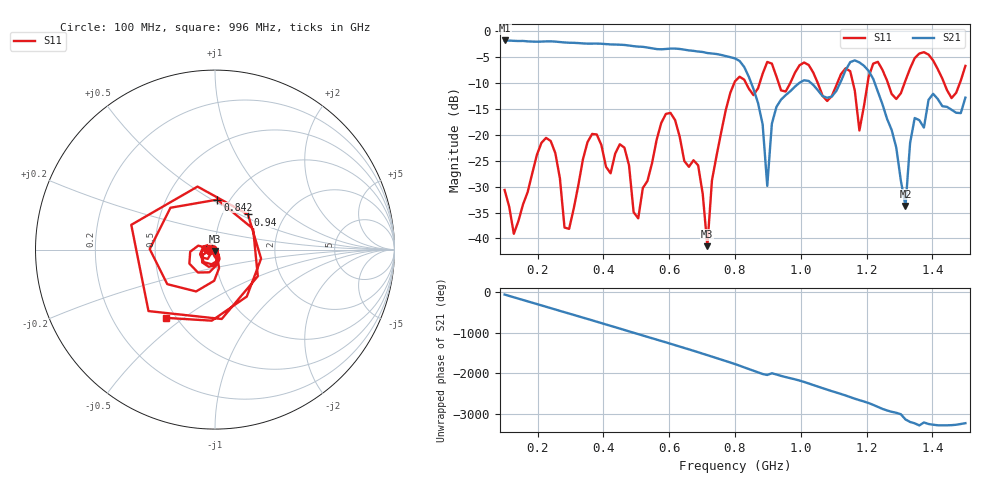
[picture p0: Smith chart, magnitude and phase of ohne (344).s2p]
! NanoVNA-App
! Date: 2025-09-25 14:23:28
! Start: 100MHz Stop: 1,5GHz Points: 101
! S-Parameter data: F S11 S21 S12 S22
# Hz S RI R 50
!  Frequency  S11_Real  S11_Imag  S21_Real  S21_Imag  S12_Real  S12_Imag  S22_Real  S22_Imag
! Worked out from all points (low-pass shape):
!   101 points, 100 MHz to 1.5 GHz, reference 50 ohm
!   highest |S21| = -1.79 dB at 100 MHz (marker M1); lowest = -33.7 dB at 1.318 GHz (marker M2)
!   |S21| within 3 dB of the highest: start of sweep to 771 MHz
!   lowest |S11| = -41.5 dB at 716 MHz (marker M3), VSWR 1.02, Z = 49.8 - j0.824 ohm
!   |S11| at or under -10 dB: start of sweep to 797.9 MHz; 833.2 MHz to 875.1 MHz (41.91 MHz wide, 4.91 % of centre); 1.051 GHz to 1.111 GHz (59.43 MHz wide, 5.5 % of centre) (the widest 3 of 7)
!   S12 and S22 are empty: the file has one direction only
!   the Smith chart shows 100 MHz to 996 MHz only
!   S11 on the Smith chart (normalised r, x): 100 MHz: 0.94, -0.01; 842 MHz: 0.88, +0.53; 940 MHz: 1.32, +0.56; 996 MHz: 0.44, -0.43
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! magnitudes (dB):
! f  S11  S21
! 100 MHz  -30.6  -1.8
! 128 MHz  -39.1  -1.9
! 226 MHz  -20.6  -2.0
! 296 MHz  -38.1  -2.2
! 338 MHz  -24.7  -2.4
! 464 MHz  -22.5  -2.7
! 506 MHz  -36.1  -3.0
! 576 MHz  -17.7  -3.5
! 688 MHz  -25.9  -3.9
! 716 MHz  -41.5  -4.2
! 800 MHz  -9.7  -5.3
! 842 MHz  -11.1  -8.8
! 898 MHz  -5.9  -29.9
! 940 MHz  -11.4  -13.2
! 996 MHz  -6.6  -10.0
! 1.038 GHz  -8.0  -10.4
! 1.178 GHz  -19.2  -6.0
! 1.22 GHz  -6.3  -9.2
! 1.276 GHz  -12.1  -19.1
! 1.318 GHz  -9.5  -33.7
! 1.346 GHz  -5.2  -16.8
! 1.5 GHz  -6.7  -12.8
